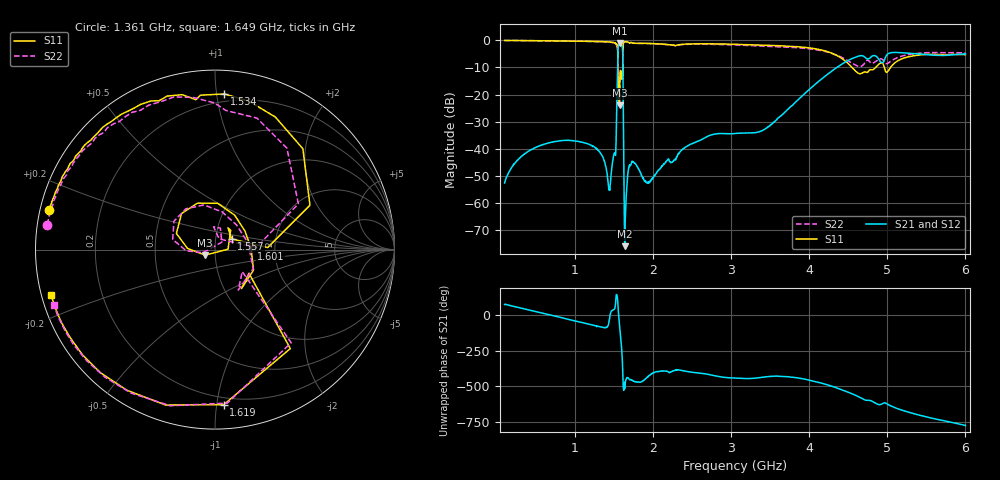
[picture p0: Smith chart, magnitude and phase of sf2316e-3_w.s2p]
!Keysight Technologies,E5080A,MY55200989,A.11.70.00
!Date: Wednesday, September 19, 2018 14:16:57
!Correction: S11(Full 2 Port(1,2))
!S21(Full 2 Port(1,2))
!S12(Full 2 Port(1,2))
!S22(Full 2 Port(1,2))
!S2P File: Measurements: S11, S21, S12, S22:
# Hz S  dB  R 50
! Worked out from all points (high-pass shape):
!   1601 points, 100 MHz to 6 GHz, reference 50 ohm
!   highest |S21| = -1.02 dB at 1.571 GHz (marker M1); lowest = -76.0 dB at 1.638 GHz (marker M2)
!   |S21| within 3 dB of the highest: 1.552 GHz to 1.611 GHz (58.62 MHz wide, 3.71 % of centre)
!   lowest |S11| = -24.0 dB at 1.571 GHz (marker M3), VSWR 1.13, Z = 44.7 - j2.77 ohm
!   |S11| at or under -10 dB: 1.552 GHz to 1.613 GHz (60.46 MHz wide, 3.82 % of centre); 4.549 GHz to 4.85 GHz (300.7 MHz wide, 6.4 % of centre); 4.962 GHz to 5.041 GHz (79.02 MHz wide, 1.58 % of centre)
!   |S22| runs from -25.0 to 0.0 dB; largest |S21 - S12| = 0.0016
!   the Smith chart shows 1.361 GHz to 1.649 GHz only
!   S11 on the Smith chart (normalised r, x): 1.361 GHz: 0.03, +0.12; 1.534 GHz: 0.15, +1.05; 1.557 GHz: 1.19, +0.14; 1.601 GHz: 1.50, +0.02; 1.619 GHz: 0.15, -1.05; 1.649 GHz: 0.03, -0.14
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1e8  -0.02 -13.3  -52.65 74.5  -52.64 74.9  -0.01 -13.3
6.199375e8  -0.14 -82.9  -38.21 8.7  -38.20 8.7  -0.15 -82.6
1.084562e9  -0.30 -148.0  -37.54 -51.9  -37.53 -52.1  -0.32 -145.5
1.361125e9  -0.47 166.7  -43.19 -86.6  -43.19 -86.4  -0.50 171.5
1.453312e9  -0.65 143.7  -52.95 5.8  -52.87 6.3  -0.70 149.8
1.504938e9  -0.84 119.8  -41.69 41.9  -41.66 42.3  -1.01 126.9
1.534438e9  -1.22 86.6  -26.46 143.3  -26.44 143.4  -1.75 90.2
1.556562e9  -19.18 32.9  -2.23 21.1  -2.23 21.2  -23.88 68.5
1.571312e9  -23.99 -150.7  -1.02 -71.7  -1.02 -71.7  -23.23 -165.6
1.600812e9  -13.92 1.4  -1.80 106.6  -1.80 106.7  -14.53 11.6
1.61925e9  -1.26 -86.7  -24.24 -145.4  -24.21 -145.1  -1.33 -85.4
1.637688e9  -0.50 -148.8  -75.99 -158.5  -75.98 -151.9  -0.45 -146.0
1.64875e9  -0.47 -164.4  -63.19 -102.4  -63.17 -104.8  -0.44 -160.9
1.752e9  -1.04 147.4  -44.93 -105.2  -44.92 -105.3  -1.01 153.4
2.069125e9  -1.28 96.3  -47.90 -38.6  -47.88 -38.4  -1.30 105.1
3.05e9  -1.43 -21.5  -34.40 -83.7  -34.39 -83.8  -1.68 -12.3
3.56625e9  -1.89 -83.5  -29.78 -70.8  -29.74 -70.2  -2.24 -76.9
4.034562e9  -2.90 -145.5  -17.26 -102.4  -17.26 -102.4  -3.22 -140.0
4.572938e9  -10.72 146.2  -6.39 160.0  -6.38 160.0  -8.82 158.0
5.019125e9  -10.94 155.0  -4.78 87.5  -4.78 87.5  -8.23 142.7
5.39525e9  -5.44 109.8  -4.98 17.3  -4.97 17.3  -4.74 104.7
6e9  -5.26 35.5  -4.96 -57.4  -4.96 -57.4  -4.63 41.4
